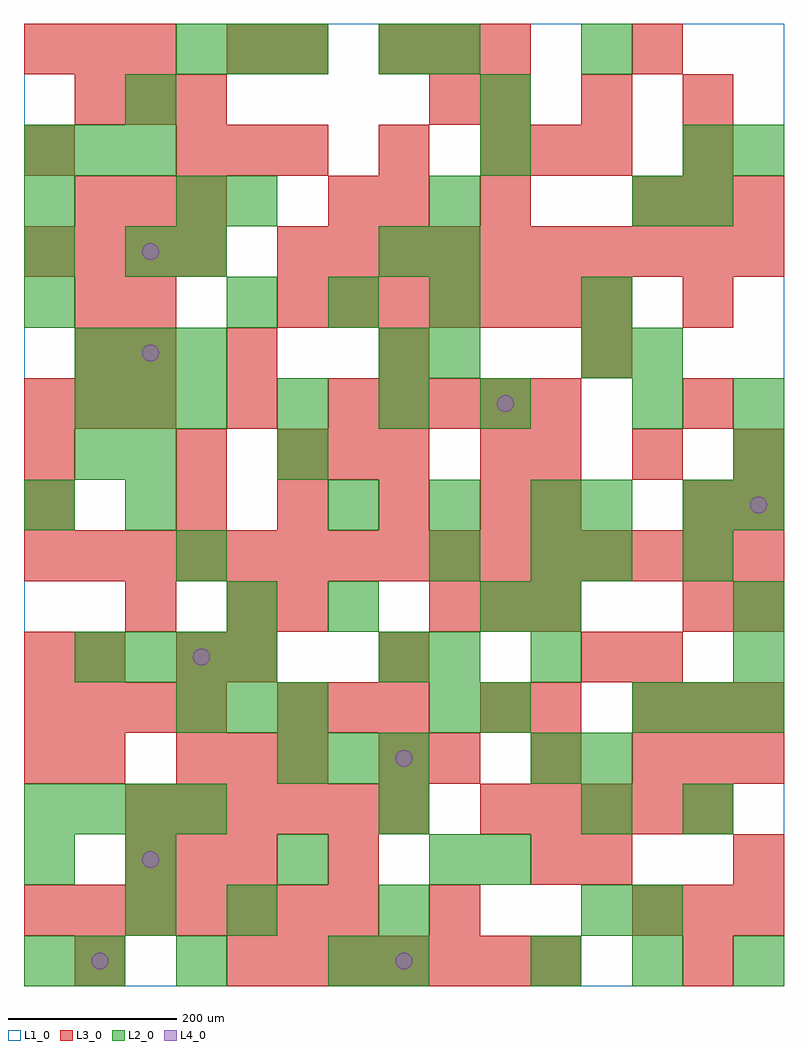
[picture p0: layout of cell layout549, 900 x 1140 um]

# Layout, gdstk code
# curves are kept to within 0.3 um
import gdstk
lib = gdstk.Library(unit=1e-6, precision=1e-09)
def R(c, l, rs):  # rectangles x0, y0, x1, y1
    for r in rs: c.add(gdstk.rectangle(r[:2], r[2:], *l))
def A(c, l, x, y, w, h, nx, ny, dx, dy):  # array of equal rectangles
    R(c, l, [(x+i*dx, y+j*dy, x+i*dx+w, y+j*dy+h) for i in range(nx) for j in range(ny)])
def P(c, l, *ps):  # polygons
    for p in ps: c.add(gdstk.Polygon(p, *l))
L1_0 = (1, 0)
L2_0 = (2, 0)
L3_0 = (3, 0)
L4_0 = (4, 0)

layout549 = lib.new_cell('layout549')
R(layout549, L1_0, [(0,0,900,1140)])
A(layout549, L2_0, 600, 0, 60, 60, 3, 1, 120, 0)
A(layout549, L2_0, 120, 120, 60, 60, 3, 1, 180, 0)
A(layout549, L2_0, 0, 180, 60, 60, 4, 1, 60, 0)
A(layout549, L2_0, 300, 240, 60, 60, 3, 1, 60, 0)
A(layout549, L2_0, 180, 300, 60, 60, 3, 2, 60, 780)
A(layout549, L2_0, 720, 300, 60, 60, 3, 1, 60, 0)
A(layout549, L2_0, 60, 360, 60, 60, 4, 1, 60, 0)
A(layout549, L2_0, 600, 360, 60, 60, 1, 3, 0, 60)
A(layout549, L2_0, 360, 540, 60, 60, 3, 1, 120, 0)
A(layout549, L2_0, 840, 540, 60, 60, 1, 3, 0, 60)
A(layout549, L2_0, 60, 660, 60, 60, 3, 2, 60, 60)
A(layout549, L2_0, 300, 660, 60, 60, 3, 1, 120, 0)
A(layout549, L2_0, 0, 780, 60, 60, 1, 3, 0, 60)
A(layout549, L2_0, 240, 780, 60, 60, 3, 1, 120, 0)
A(layout549, L2_0, 240, 900, 60, 60, 3, 1, 240, 0)
A(layout549, L2_0, 0, 960, 60, 60, 3, 1, 60, 0)
R(layout549, L2_0, [(0,0,60,60), (60,0,120,60), (180,0,240,60), (360,0,420,60), (420,0,480,60), (120,60,180,120), (240,60,300,120), (420,60,480,120), (660,60,720,120), (720,60,780,120), (0,120,60,180), (540,120,600,180), (420,180,480,240), (660,180,720,240), (780,180,840,240), (600,240,660,300), (660,240,720,300), (480,300,540,360), (540,300,600,360), (420,360,480,420), (480,360,540,420), (840,360,900,420), (240,420,300,480), (360,420,420,480), (540,420,600,480), (840,420,900,480), (180,480,240,540), (480,480,540,540), (660,480,720,540), (780,480,840,540), (0,540,60,600), (120,540,180,600), (660,540,720,600), (780,540,840,600), (60,600,120,660), (120,600,180,660), (300,600,360,660), (720,660,780,720), (420,720,480,780), (480,720,540,780), (660,720,720,780), (720,720,780,780), (660,780,720,840), (120,840,180,900), (180,840,240,900), (420,840,480,900), (480,840,540,900), (180,900,240,960), (780,900,840,960), (540,960,600,1020), (780,960,840,1020), (840,960,900,1020), (120,1020,180,1080), (540,1020,600,1080), (420,1080,480,1140), (480,1080,540,1140), (660,1080,720,1140)])
A(layout549, L3_0, 240, 0, 60, 60, 7, 1, 60, 0)
A(layout549, L3_0, 0, 60, 60, 60, 7, 1, 60, 0)
A(layout549, L3_0, 720, 60, 60, 60, 3, 2, 60, 240)
A(layout549, L3_0, 120, 120, 60, 60, 3, 1, 60, 0)
A(layout549, L3_0, 120, 180, 60, 60, 6, 1, 60, 0)
A(layout549, L3_0, 540, 180, 60, 60, 5, 1, 60, 0)
A(layout549, L3_0, 180, 240, 60, 60, 3, 2, 60, 720)
A(layout549, L3_0, 480, 240, 60, 60, 3, 1, 120, 0)
A(layout549, L3_0, 0, 300, 60, 60, 4, 2, 60, 540)
A(layout549, L3_0, 300, 300, 60, 60, 3, 2, 60, 300)
A(layout549, L3_0, 540, 300, 60, 60, 1, 3, 0, 300)
A(layout549, L3_0, 480, 420, 60, 60, 3, 1, 60, 0)
A(layout549, L3_0, 780, 420, 60, 60, 1, 4, 0, 120)
A(layout549, L3_0, 0, 480, 60, 60, 15, 1, 60, 0)
A(layout549, L3_0, 180, 540, 60, 60, 4, 1, 120, 0)
A(layout549, L3_0, 600, 600, 60, 60, 3, 1, 120, 0)
A(layout549, L3_0, 0, 660, 60, 60, 3, 2, 60, 420)
A(layout549, L3_0, 360, 660, 60, 60, 5, 1, 60, 0)
A(layout549, L3_0, 300, 780, 60, 60, 7, 1, 60, 0)
A(layout549, L3_0, 300, 840, 60, 60, 10, 1, 60, 0)
A(layout549, L3_0, 60, 900, 60, 60, 3, 2, 60, 120)
A(layout549, L3_0, 720, 900, 60, 60, 3, 1, 60, 0)
A(layout549, L3_0, 540, 960, 60, 60, 3, 1, 60, 0)
A(layout549, L3_0, 540, 1020, 60, 60, 3, 1, 120, 0)
A(layout549, L3_0, 420, 1080, 60, 60, 3, 1, 60, 0)
R(layout549, L3_0, [(60,0,120,60), (780,0,840,60), (480,60,540,120), (360,120,420,180), (600,120,660,180), (660,120,720,180), (840,120,900,180), (0,240,60,300), (60,240,120,300), (420,240,480,300), (780,240,840,300), (840,240,900,300), (600,300,660,360), (0,360,60,420), (60,360,120,420), (180,360,240,420), (240,360,300,420), (420,360,480,420), (660,360,720,420), (720,360,780,420), (120,420,180,480), (240,420,300,480), (300,420,360,480), (840,420,900,480), (0,540,60,600), (600,540,660,600), (840,540,900,600), (0,600,60,660), (180,600,240,660), (240,660,300,720), (60,720,120,780), (120,720,180,780), (240,720,300,780), (420,720,480,780), (660,720,720,780), (60,780,120,840), (120,780,180,840), (360,900,420,960), (420,900,480,960), (0,960,60,1020), (420,960,480,1020), (780,960,840,1020), (480,1020,540,1080), (240,1080,300,1140), (300,1080,360,1140), (720,1080,780,1140)])
P(layout549, L4_0, [(100,30),(99.239,33.827),(97.071,37.071),(93.827,39.239),(90,40),(86.173,39.239),(82.929,37.071),(80.761,33.827),(80,30),(80.761,26.173),(82.929,22.929),(86.173,20.761),(90,20),(93.827,20.761),(97.071,22.929),(99.239,26.173)],
  [(160,150),(159.239,153.827),(157.071,157.071),(153.827,159.239),(150,160),(146.173,159.239),(142.929,157.071),(140.761,153.827),(140,150),(140.761,146.173),(142.929,142.929),(146.173,140.761),(150,140),(153.827,140.761),(157.071,142.929),(159.239,146.173)],
  [(160,750),(159.239,753.827),(157.071,757.071),(153.827,759.239),(150,760),(146.173,759.239),(142.929,757.071),(140.761,753.827),(140,750),(140.761,746.173),(142.929,742.929),(146.173,740.761),(150,740),(153.827,740.761),(157.071,742.929),(159.239,746.173)],
  [(160,870),(159.239,873.827),(157.071,877.071),(153.827,879.239),(150,880),(146.173,879.239),(142.929,877.071),(140.761,873.827),(140,870),(140.761,866.173),(142.929,862.929),(146.173,860.761),(150,860),(153.827,860.761),(157.071,862.929),(159.239,866.173)],
  [(220,390),(219.239,393.827),(217.071,397.071),(213.827,399.239),(210,400),(206.173,399.239),(202.929,397.071),(200.761,393.827),(200,390),(200.761,386.173),(202.929,382.929),(206.173,380.761),(210,380),(213.827,380.761),(217.071,382.929),(219.239,386.173)],
  [(460,30),(459.239,33.827),(457.071,37.071),(453.827,39.239),(450,40),(446.173,39.239),(442.929,37.071),(440.761,33.827),(440,30),(440.761,26.173),(442.929,22.929),(446.173,20.761),(450,20),(453.827,20.761),(457.071,22.929),(459.239,26.173)],
  [(460,270),(459.239,273.827),(457.071,277.071),(453.827,279.239),(450,280),(446.173,279.239),(442.929,277.071),(440.761,273.827),(440,270),(440.761,266.173),(442.929,262.929),(446.173,260.761),(450,260),(453.827,260.761),(457.071,262.929),(459.239,266.173)],
  [(580,690),(579.239,693.827),(577.071,697.071),(573.827,699.239),(570,700),(566.173,699.239),(562.929,697.071),(560.761,693.827),(560,690),(560.761,686.173),(562.929,682.929),(566.173,680.761),(570,680),(573.827,680.761),(577.071,682.929),(579.239,686.173)],
  [(880,570),(879.239,573.827),(877.071,577.071),(873.827,579.239),(870,580),(866.173,579.239),(862.929,577.071),(860.761,573.827),(860,570),(860.761,566.173),(862.929,562.929),(866.173,560.761),(870,560),(873.827,560.761),(877.071,562.929),(879.239,566.173)])

lib.write_gds('layout549.gds')
